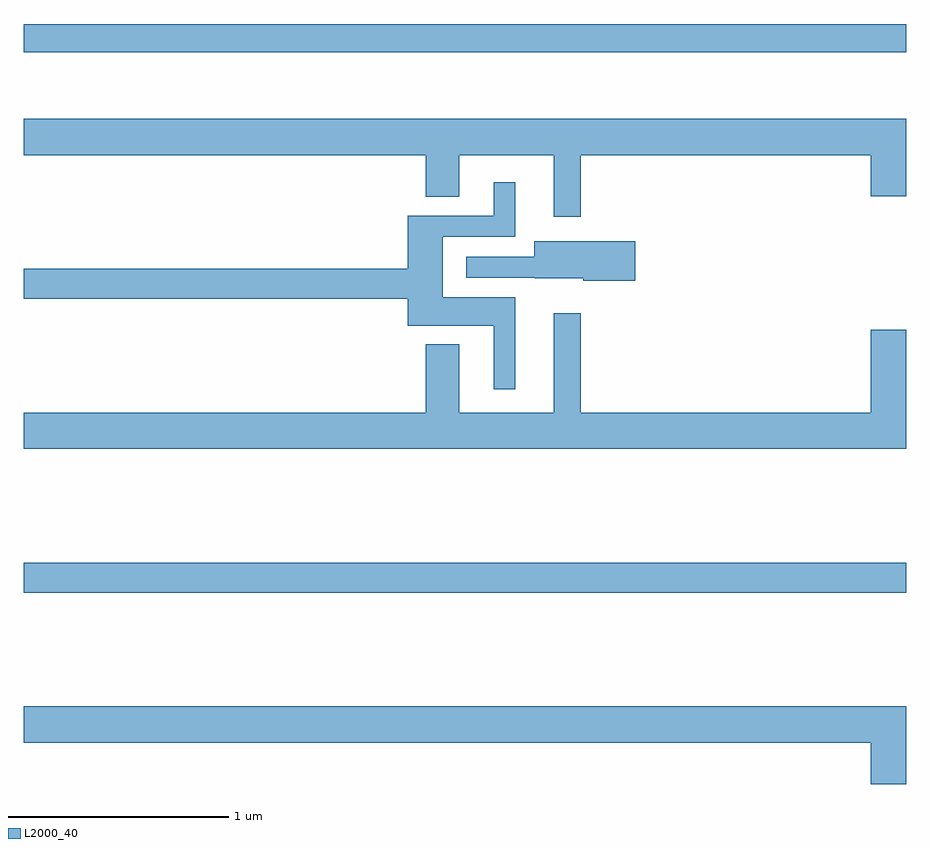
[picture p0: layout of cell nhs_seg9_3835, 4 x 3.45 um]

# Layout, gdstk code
import gdstk
lib = gdstk.Library(unit=1e-6, precision=1e-09)
def R(c, l, rs):  # rectangles x0, y0, x1, y1
    for r in rs: c.add(gdstk.rectangle(r[:2], r[2:], *l))
def P(c, l, *ps):  # polygons
    for p in ps: c.add(gdstk.Polygon(p, *l))
L2000_40 = (2000, 40)

nhs_seg9_3835 = lib.new_cell('nhs_seg9_3835')
R(nhs_seg9_3835, L2000_40, [(329,1219.744,333,1219.88), (329,1222.194,333,1222.322)])
P(nhs_seg9_3835, L2000_40, [(331.525,1221.728),(332.84,1221.728),(332.84,1221.54),(333,1221.54),(333,1221.892),(329,1221.892),(329,1221.728),(330.821,1221.728),(330.821,1221.538),(330.973,1221.538),(330.973,1221.728),(331.403,1221.728),(331.403,1221.447),(331.525,1221.447)],
  [(331.228,1221.082),(330.898,1221.082),(330.898,1221.357),(331.228,1221.357),(331.228,1221.604),(331.13,1221.604),(331.13,1221.453),(330.74,1221.453),(330.74,1221.212),(329,1221.212),(329,1221.076),(330.74,1221.076),(330.74,1220.954),(331.13,1220.954),(331.13,1220.667),(331.228,1220.667)],
  [(331.771,1221.336),(331.313,1221.336),(331.313,1221.267),(331.005,1221.267),(331.005,1221.171),(331.317,1221.171),(331.317,1221.17),(331.536,1221.17),(331.536,1221.158),(331.771,1221.158)],
  [(333,1220.935),(332.84,1220.935),(332.84,1220.56),(331.525,1220.56),(331.525,1221.01),(331.403,1221.01),(331.403,1220.56),(330.973,1220.56),(330.973,1220.869),(330.821,1220.869),(330.821,1220.56),(329,1220.56),(329,1220.396),(333,1220.396)],
  [(333,1219.228),(329,1219.228),(329,1219.064),(332.84,1219.064),(332.84,1218.876),(333,1218.876)])

lib.write_gds('nhs_seg9_3835.gds')
